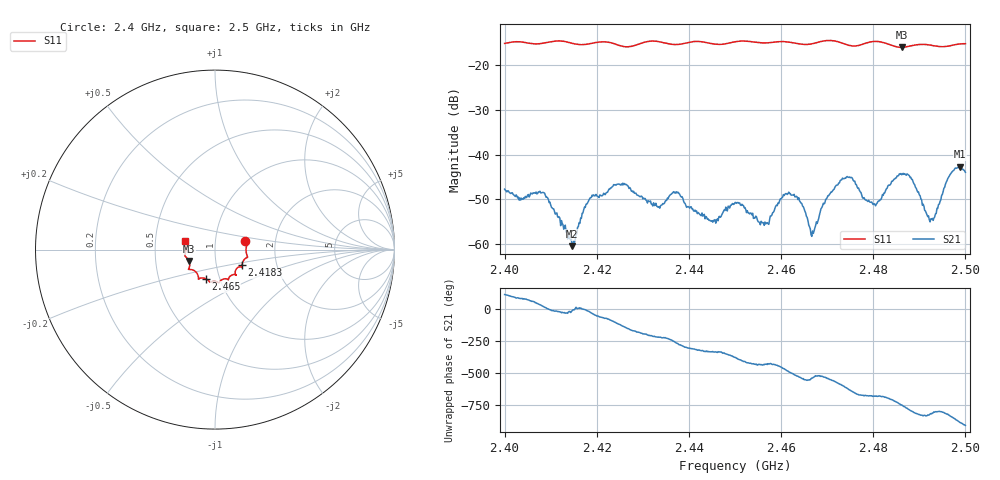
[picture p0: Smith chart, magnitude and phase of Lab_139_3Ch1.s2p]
# Hz S RI R 50
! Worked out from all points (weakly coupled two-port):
!   601 points, 2.4 GHz to 2.5 GHz, reference 50 ohm
!   highest |S21| = -42.70 dB at 2.4988 GHz (marker M1); lowest = -60.5 dB at 2.4147 GHz (marker M2)
!   lowest |S11| = -16.0 dB at 2.4862 GHz (marker M3), VSWR 1.38, Z = 37.1 - j4.83 ohm
!   |S11| at or under -10 dB: start of sweep to end of sweep
!   S12 and S22 are empty: the file has one direction only
!   S11 on the Smith chart (normalised r, x): 2.4 GHz: 1.40, +0.13; 2.4183 GHz: 1.33, -0.24; 2.465 GHz: 0.86, -0.29; 2.5 GHz: 0.71, +0.07
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2.4e9  0.1691 0.0457  -0.00157 0.0038  0 0  0 0
2.408333e9  0.175 -0.0197  0.00354 0.00134  0 0  0 0
2.414667e9  0.1679 -0.0506  0.000924 -0.000209  0 0  0 0
2.416667e9  0.1549 -0.0684  0.00193 0.000177  0 0  0 0
2.418333e9  0.1497 -0.0869  0.00295 -0.00103  0 0  0 0
2.425833e9  0.1269 -0.0998  -0.00332 -0.00319  0 0  0 0
2.433333e9  0.1169 -0.1414  -0.00199 0.00164  0 0  0 0
2.437167e9  0.0884 -0.1453  -0.000504 0.00367  0 0  0 0
2.445333e9  0.0592 -0.1622  0.00166 0.000813  0 0  0 0
2.45e9  0.0252 -0.1808  0.0028 -0.000789  0 0  0 0
2.456833e9  -0.00852 -0.1771  0.000657 -0.00159  0 0  0 0
2.461167e9  -0.0303 -0.1796  -0.00167 -0.00325  0 0  0 0
2.465e9  -0.0526 -0.1622  -0.00245 0.000418  0 0  0 0
2.466667e9  -0.0712 -0.1579  -0.00122 -5.95e-05  0 0  0 0
2.473333e9  -0.093 -0.149  -0.00318 0.00444  0 0  0 0
2.480333e9  -0.1476 -0.1103  0.00207 0.00188  0 0  0 0
2.483333e9  -0.1421 -0.096  0.00414 0.00192  0 0  0 0
2.486167e9  -0.1447 -0.0634  0.00538 -0.00257  0 0  0 0
2.492667e9  -0.165 -0.0222  -0.000182 -0.00188  0 0  0 0
2.4965e9  -0.1624 0.0222  -0.0016 -0.00555  0 0  0 0
2.498833e9  -0.1678 0.0411  -0.00697 -0.00224  0 0  0 0
2.5e9  -0.167 0.0473  -0.00632 0.000574  0 0  0 0
